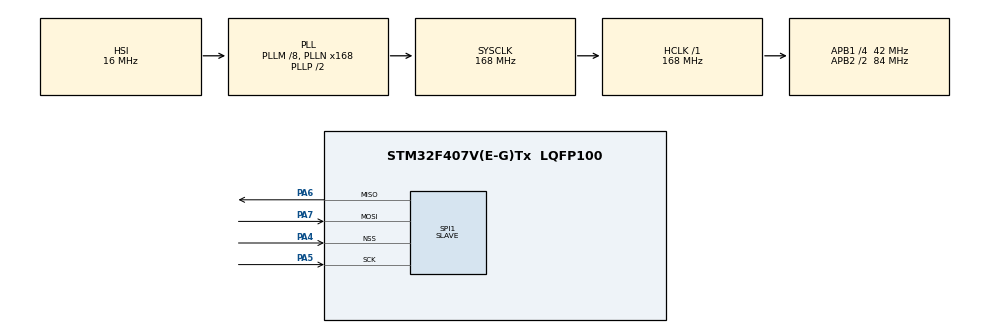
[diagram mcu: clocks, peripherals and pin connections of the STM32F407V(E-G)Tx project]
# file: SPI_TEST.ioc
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Mcu.Family=STM32F4
PA6.Mode=Full_Duplex_Slave
RCC.CortexFreq_Value=168000000
PA7.Mode=Full_Duplex_Slave
SPI1.VirtualType=VM_SLAVE
RCC.APB1CLKDivider=RCC_HCLK_DIV4
RCC.SYSCLKSource=RCC_SYSCLKSOURCE_PLLCLK
ProjectManager.StackSize=0x400
PA13.Signal=SYS_JTMS-SWDIO
ProjectManager.TargetToolchain=STM32CubeIDE
PA4.Mode=NSS_Signal_Hard_Input
SPI1.Direction=SPI_DIRECTION_2LINES
RCC.HCLKFreq_Value=168000000
RCC.APB2TimFreq_Value=168000000
RCC.LSE_VALUE=32768
RCC.AHBFreq_Value=168000000
PA5.Signal=SPI1_SCK
RCC.HSE_VALUE=25000000
PB3.Mode=Trace_Asynchronous_SW
board=custom
RCC.VCOOutputFreq_Value=336000000
NVIC.SPI1_IRQn=true\:0\:0\:false\:false\:true\:true\:true
RCC.APB2Freq_Value=84000000
SPI1.Mode=SPI_MODE_SLAVE
PA14.Mode=Trace_Asynchronous_SW
SPI1.VirtualNSS=VM_NSSHARD
PA13.Mode=Trace_Asynchronous_SW
Mcu.Name=STM32F407V(E-G)Tx
RCC.48MHZClocksFreq_Value=84000000
PB3.Signal=SYS_JTDO-SWO
PA4.Signal=SPI1_NSS
RCC.SYSCLKFreq_VALUE=168000000
Mcu.Package=LQFP100
PA6.Signal=SPI1_MISO
PA14.Signal=SYS_JTCK-SWCLK
ProjectManager.HeapSize=0x200
RCC.HSI_VALUE=16000000
NVIC.PriorityGroup=NVIC_PRIORITYGROUP_4
RCC.APB2CLKDivider=RCC_HCLK_DIV2
RCC.PLLM=8
RCC.PLLN=168
RCC.APB1TimFreq_Value=84000000
RCC.APB1Freq_Value=42000000
PA7.Signal=SPI1_MOSI
PA5.Mode=Full_Duplex_Slave

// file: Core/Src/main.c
/* USER CODE BEGIN Header */
/**
  ******************************************************************************
  * @file           : main.c
  * @brief          : Main program body
  ******************************************************************************
  * @attention
  *
  * <h2><center>&copy; Copyright (c) 2021 STMicroelectronics.
  * All rights reserved.</center></h2>
  *
  * This software component is licensed by ST under BSD 3-Clause license,
  * the "License"; You may not use this file except in compliance with the
  * License. You may obtain a copy of the License at:
  *                        opensource.org/licenses/BSD-3-Clause
  *
  ******************************************************************************
  */
/* USER CODE END Header */
#include "main.h"

/* USER CODE BEGIN Includes */
#include <stdio.h>
#include <stdlib.h>
#include <string.h>
/* USER CODE END Includes */

/* USER CODE BEGIN PD */
#define SPI_DIS HAL_GPIO_WritePin(GPIOA, GPIO_PIN_4, GPIO_PIN_SET);
#define SPI_EN HAL_GPIO_WritePin(GPIOA, GPIO_PIN_4, GPIO_PIN_RESET);
/* USER CODE END PD */

SPI_HandleTypeDef hspi1;

void SystemClock_Config(void);
static void MX_GPIO_Init(void);
static void MX_SPI1_Init(void);

/* USER CODE BEGIN 0 */
int _write(int file, char *ptr, int len)
 {
	 int DataIdx;
	 for (DataIdx = 0; DataIdx < len; DataIdx++)
	 {
		 ITM_SendChar(*ptr++);
	 }
	 return len;
 }

uint8_t spi_buf[8];
uint8_t tx_buf[8] = {7,7,7,7,7,7,7,7};
int tx_flag = 0;

/* USER CODE END 0 */

int main(void)
{

  /* MCU Configuration--------------------------------------------------------*/

  /* Reset of all peripherals, Initializes the Flash interface and the Systick. */
  HAL_Init();

  /* Configure the system clock */
  SystemClock_Config();

  /* Initialize all configured peripherals */
  MX_GPIO_Init();
  MX_SPI1_Init();
  /* USER CODE BEGIN 2 */
  HAL_SPI_Receive_IT(&hspi1, spi_buf, 8);
  // HAL_SPI_TransmitReceive(&hspi1, tx_buf, spi_buf, 8);
  /* USER CODE END 2 */

  /* Infinite loop */
  while (1)
  {

  }
}

void SystemClock_Config(void)
{
  RCC_OscInitTypeDef RCC_OscInitStruct = {0};
  RCC_ClkInitTypeDef RCC_ClkInitStruct = {0};

  /** Configure the main internal regulator output voltage
  */
  __HAL_RCC_PWR_CLK_ENABLE();
  __HAL_PWR_VOLTAGESCALING_CONFIG(PWR_REGULATOR_VOLTAGE_SCALE1);
  /** Initializes the RCC Oscillators according to the specified parameters
  * in the RCC_OscInitTypeDef structure.
  */
  RCC_OscInitStruct.OscillatorType = RCC_OSCILLATORTYPE_HSI;
  RCC_OscInitStruct.HSIState = RCC_HSI_ON;
  RCC_OscInitStruct.HSICalibrationValue = RCC_HSICALIBRATION_DEFAULT;
  RCC_OscInitStruct.PLL.PLLState = RCC_PLL_ON;
  RCC_OscInitStruct.PLL.PLLSource = RCC_PLLSOURCE_HSI;
  RCC_OscInitStruct.PLL.PLLM = 8;
  RCC_OscInitStruct.PLL.PLLN = 168;
  RCC_OscInitStruct.PLL.PLLP = RCC_PLLP_DIV2;
  RCC_OscInitStruct.PLL.PLLQ = 4;
  if (HAL_RCC_OscConfig(&RCC_OscInitStruct) != HAL_OK)
  {
    Error_Handler();
  }
  /** Initializes the CPU, AHB and APB buses clocks
  */
  RCC_ClkInitStruct.ClockType = RCC_CLOCKTYPE_HCLK|RCC_CLOCKTYPE_SYSCLK
                              |RCC_CLOCKTYPE_PCLK1|RCC_CLOCKTYPE_PCLK2;
  RCC_ClkInitStruct.SYSCLKSource = RCC_SYSCLKSOURCE_PLLCLK;
  RCC_ClkInitStruct.AHBCLKDivider = RCC_SYSCLK_DIV1;
  RCC_ClkInitStruct.APB1CLKDivider = RCC_HCLK_DIV4;
  RCC_ClkInitStruct.APB2CLKDivider = RCC_HCLK_DIV2;

  if (HAL_RCC_ClockConfig(&RCC_ClkInitStruct, FLASH_LATENCY_5) != HAL_OK)
  {
    Error_Handler();
  }
}

static void MX_SPI1_Init(void)
{

  /* SPI1 parameter configuration*/
  hspi1.Instance = SPI1;
  hspi1.Init.Mode = SPI_MODE_SLAVE;
  hspi1.Init.Direction = SPI_DIRECTION_2LINES;
  hspi1.Init.DataSize = SPI_DATASIZE_8BIT;
  hspi1.Init.CLKPolarity = SPI_POLARITY_LOW;
  hspi1.Init.CLKPhase = SPI_PHASE_1EDGE;
  hspi1.Init.NSS = SPI_NSS_HARD_INPUT;
  hspi1.Init.FirstBit = SPI_FIRSTBIT_MSB;
  hspi1.Init.TIMode = SPI_TIMODE_DISABLE;
  hspi1.Init.CRCCalculation = SPI_CRCCALCULATION_DISABLE;
  hspi1.Init.CRCPolynomial = 10;
  if (HAL_SPI_Init(&hspi1) != HAL_OK)
  {
    Error_Handler();
  }

}

static void MX_GPIO_Init(void)
{

  /* GPIO Ports Clock Enable */
  __HAL_RCC_GPIOA_CLK_ENABLE();
  __HAL_RCC_GPIOB_CLK_ENABLE();

}

/* USER CODE BEGIN 4 */
void HAL_SPI_RxCpltCallback(SPI_HandleTypeDef* hspi) {
	if (hspi == &hspi1) {
		printf("RxCpltCallback\n");
		for (int i = 0; i < sizeof(spi_buf) * sizeof(uint8_t); i++) {
				 printf("spi_buf[%d] = %d\n", i, spi_buf[i]);
		}
		HAL_SPI_Receive_IT(&hspi1, spi_buf, 8);
	}
}

void HAL_SPI_TxCpltCallback(SPI_HandleTypeDef* hspi) {
	if (hspi == &hspi1) {
		printf("TxCpltCallback\n");
		// HAL_SPI_Receive_IT(&hspi1, spi_buf, 8);
	}
}

void HAL_SPI_TxRxCpltCallback(SPI_HandleTypeDef* hspi) {
	if (hspi == &hspi1) {
		printf("TxRxCpltCallBack");
		// HAL_SPI_TransmitReceive_IT(&hspi1, tx_buf, spi_buf, 8);
	}
}
/* USER CODE END 4 */

void Error_Handler(void)
{
  __disable_irq();
  while (1)
  {
  }
}

/************************ (C) COPYRIGHT STMicroelectronics *****END OF FILE****/
